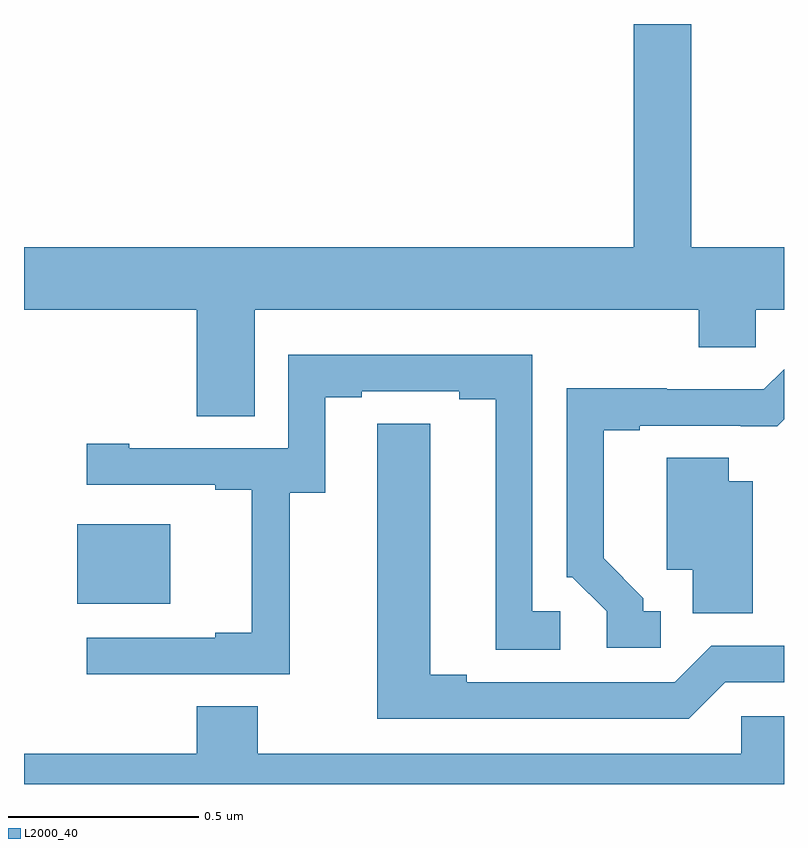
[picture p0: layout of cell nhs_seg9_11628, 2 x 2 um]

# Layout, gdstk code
import gdstk
lib = gdstk.Library(unit=1e-6, precision=1e-09)
def R(c, l, rs):  # rectangles x0, y0, x1, y1
    for r in rs: c.add(gdstk.rectangle(r[:2], r[2:], *l))
def P(c, l, *ps):  # polygons
    for p in ps: c.add(gdstk.Polygon(p, *l))
L2000_40 = (2000, 40)

nhs_seg9_11628 = lib.new_cell('nhs_seg9_11628')
R(nhs_seg9_11628, L2000_40, [(258.14,1200.974,258.385,1201.183)])
P(nhs_seg9_11628, L2000_40, [(258.607,1201.748),(259.775,1201.748),(259.775,1201.65),(259.926,1201.65),(259.926,1201.748),(260,1201.748),(260,1201.912),(259.756,1201.912),(259.756,1202.5),(259.604,1202.5),(259.604,1201.912),(258,1201.912),(258,1201.748),(258.455,1201.748),(258.455,1201.468),(258.607,1201.468)],
  [(258.699,1201.267),(258.793,1201.267),(258.793,1201.518),(258.889,1201.518),(258.889,1201.533),(259.145,1201.533),(259.145,1201.513),(259.241,1201.513),(259.241,1200.853),(259.411,1200.853),(259.411,1200.954),(259.338,1200.954),(259.338,1201.629),(258.696,1201.629),(258.696,1201.383),(258.277,1201.383),(258.277,1201.396),(258.165,1201.396),(258.165,1201.287),(258.503,1201.287),(258.503,1201.275),(258.599,1201.275),(258.599,1200.898),(258.503,1200.898),(258.503,1200.885),(258.165,1200.885),(258.165,1200.789),(258.699,1200.789)],
  [(259.675,1200.954),(259.63,1200.954),(259.63,1200.989),(259.525,1201.094),(259.525,1201.431),(259.621,1201.431),(259.621,1201.443),(259.886,1201.443),(259.886,1201.442),(259.982,1201.442),(260,1201.46),(260,1201.592),(259.947,1201.539),(259.691,1201.539),(259.691,1201.541),(259.428,1201.541),(259.428,1201.044),(259.443,1201.044),(259.533,1200.954),(259.533,1200.858),(259.675,1200.858)],
  [(259.845,1200.768),(260,1200.768),(260,1200.864),(259.809,1200.864),(259.713,1200.768),(259.165,1200.768),(259.165,1200.788),(259.069,1200.788),(259.069,1201.448),(258.93,1201.448),(258.93,1201.34),(258.929,1201.34),(258.929,1200.672),(259.749,1200.672)],
  [(259.918,1201.297),(259.855,1201.297),(259.855,1201.358),(259.691,1201.358),(259.691,1201.064),(259.76,1201.064),(259.76,1200.949),(259.918,1200.949)],
  [(260,1200.678),(259.887,1200.678),(259.887,1200.58),(258.615,1200.58),(258.615,1200.704),(258.455,1200.704),(258.455,1200.58),(258,1200.58),(258,1200.5),(260,1200.5)])

lib.write_gds('nhs_seg9_11628.gds')
